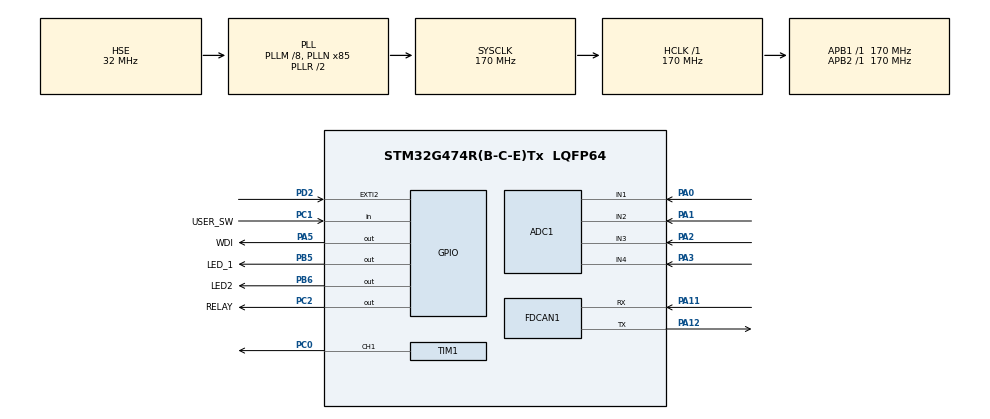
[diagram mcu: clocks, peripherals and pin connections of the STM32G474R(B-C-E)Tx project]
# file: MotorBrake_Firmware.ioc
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ADC1.Channel-0\#ChannelRegularConversion=ADC_CHANNEL_1
ADC1.Channel-1\#ChannelRegularConversion=ADC_CHANNEL_2
ADC1.Channel-2\#ChannelRegularConversion=ADC_CHANNEL_3
ADC1.Channel-3\#ChannelRegularConversion=ADC_CHANNEL_4
ADC1.ContinuousConvMode=ENABLE
ADC1.DMAContinuousRequests=ENABLE
ADC1.NbrOfConversion=4
ADC1.NbrOfConversionFlag=1
ADC1.OffsetNumber-0\#ChannelRegularConversion=ADC_OFFSET_NONE
ADC1.OffsetNumber-1\#ChannelRegularConversion=ADC_OFFSET_NONE
ADC1.OffsetNumber-2\#ChannelRegularConversion=ADC_OFFSET_NONE
ADC1.OffsetNumber-3\#ChannelRegularConversion=ADC_OFFSET_NONE
ADC1.Rank-0\#ChannelRegularConversion=1
ADC1.Rank-1\#ChannelRegularConversion=2
ADC1.Rank-2\#ChannelRegularConversion=3
ADC1.Rank-3\#ChannelRegularConversion=4
ADC1.SamplingTime-0\#ChannelRegularConversion=ADC_SAMPLETIME_640CYCLES_5
ADC1.SamplingTime-1\#ChannelRegularConversion=ADC_SAMPLETIME_640CYCLES_5
ADC1.SamplingTime-2\#ChannelRegularConversion=ADC_SAMPLETIME_640CYCLES_5
ADC1.SamplingTime-3\#ChannelRegularConversion=ADC_SAMPLETIME_640CYCLES_5
ADC1.master=1
Dma.ADC1.0.Direction=DMA_PERIPH_TO_MEMORY
Dma.ADC1.0.EventEnable=DISABLE
Dma.ADC1.0.Instance=DMA1_Channel1
Dma.ADC1.0.MemDataAlignment=DMA_MDATAALIGN_HALFWORD
Dma.ADC1.0.MemInc=DMA_MINC_ENABLE
Dma.ADC1.0.Mode=DMA_CIRCULAR
Dma.ADC1.0.PeriphDataAlignment=DMA_PDATAALIGN_HALFWORD
Dma.ADC1.0.PeriphInc=DMA_PINC_DISABLE
Dma.ADC1.0.Polarity=HAL_DMAMUX_REQ_GEN_RISING
Dma.ADC1.0.Priority=DMA_PRIORITY_LOW
Dma.ADC1.0.RequestNumber=1
Dma.ADC1.0.SignalID=NONE
Dma.ADC1.0.SyncEnable=DISABLE
Dma.ADC1.0.SyncPolarity=HAL_DMAMUX_SYNC_NO_EVENT
Dma.ADC1.0.SyncRequestNumber=1
Dma.ADC1.0.SyncSignalID=NONE
Dma.Request0=ADC1
FDCAN1.CalculateBaudRateNominal=3541666
FDCAN1.CalculateTimeBitNominal=282
FDCAN1.CalculateTimeQuantumNominal=94.11764705882354
Mcu.Family=STM32G4
Mcu.Name=STM32G474R(B-C-E)Tx
Mcu.Package=LQFP64
NVIC.DMA1_Channel1_IRQn=true\:0\:0\:false\:false\:true\:false\:true\:true
NVIC.EXTI2_IRQn=true\:0\:0\:false\:false\:true\:true\:true\:true
NVIC.PriorityGroup=NVIC_PRIORITYGROUP_4
NVIC.TIM6_DAC_IRQn=true\:0\:0\:false\:false\:true\:true\:true\:true
PA0.Mode=IN1-Single-Ended
PA0.Signal=ADC1_IN1
PA1.Mode=IN2-Single-Ended
PA1.Signal=ADC1_IN2
PA11.Mode=FDCAN_Activate
PA11.Signal=FDCAN1_RX
PA12.Mode=FDCAN_Activate
PA12.Signal=FDCAN1_TX
PA13.Mode=Serial_Wire
PA13.Signal=SYS_JTMS-SWDIO
PA14.Mode=Serial_Wire
PA14.Signal=SYS_JTCK-SWCLK
PA2.Mode=IN3-Single-Ended
PA2.Signal=ADC1_IN3
PA3.Mode=IN4-Single-Ended
PA3.Signal=ADC1_IN4
PA5.GPIO_Label=WDI
PA5.Signal=GPIO_Output
PB5.GPIO_Label=LED_1
PB5.Signal=GPIO_Output
PB6.GPIO_Label=LED2
PB6.Signal=GPIO_Output
PC0.Signal=S_TIM1_CH1
PC1.GPIO_Label=USER_SW
PC1.GPIO_PuPd=GPIO_PULLDOWN
PC1.Signal=GPIO_Input
PC2.GPIO_Label=RELAY
PC2.Signal=GPIO_Output
PD2.GPIO_ModeDefaultEXTI=GPIO_MODE_IT_FALLING
PD2.Signal=GPXTI2
PF0-OSC_IN.Mode=HSE-External-Oscillator
PF0-OSC_IN.Signal=RCC_OSC_IN
PF1-OSC_OUT.Mode=HSE-External-Oscillator
PF1-OSC_OUT.Signal=RCC_OSC_OUT
ProjectManager.HeapSize=0x200
ProjectManager.StackSize=0x400
ProjectManager.TargetToolchain=STM32CubeIDE
RCC.ADC12Freq_Value=170000000
RCC.ADC345Freq_Value=170000000
RCC.AHBFreq_Value=170000000
RCC.APB1Freq_Value=170000000
RCC.APB1TimFreq_Value=170000000
RCC.APB2Freq_Value=170000000
RCC.APB2TimFreq_Value=170000000
RCC.CortexFreq_Value=170000000
RCC.EXTERNAL_CLOCK_VALUE=12288000
RCC.HCLKFreq_Value=170000000
RCC.HSE_VALUE=32000000
RCC.HSI48_VALUE=48000000
RCC.HSI_VALUE=16000000
RCC.LSE_VALUE=32768
RCC.PLLM=RCC_PLLM_DIV8
RCC.PLLN=85
RCC.PLLSourceVirtual=RCC_PLLSOURCE_HSE
RCC.SYSCLKFreq_VALUE=170000000
RCC.SYSCLKSource=RCC_SYSCLKSOURCE_PLLCLK
RCC.USBFreq_Value=170000000
RCC.VCOOutputFreq_Value=340000000
SH.S_TIM1_CH1.0=TIM1_CH1,PWM Generation1 CH1
TIM1.Channel-PWM\ Generation1\ CH1=TIM_CHANNEL_1
TIM1.PeriodNoDither=20000-1
TIM1.Prescaler=170-1
TIM6.PeriodNoDither=10000-1
TIM6.Prescaler=170-1
VP_SYS_VS_DBSignals.Mode=DisableDeadBatterySignals
VP_TIM1_VS_ClockSourceINT.Mode=Internal
VP_TIM6_VS_ClockSourceINT.Mode=Enable_Timer
board=custom

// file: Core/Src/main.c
/* USER CODE BEGIN Header */
/**
 ******************************************************************************
 * @file           : main.c
 * @brief          : Main program body
 ******************************************************************************
 * @attention
 *
 * Copyright (c) 2026 STMicroelectronics.
 * All rights reserved.
 *
 * This software is licensed under terms that can be found in the LICENSE file
 * in the root directory of this software component.
 * If no LICENSE file comes with this software, it is provided AS-IS.
 *
 ******************************************************************************
 */
/* USER CODE END Header */
#include "main.h"
#include "adc.h"
#include "dma.h"
#include "fdcan.h"
#include "tim.h"
#include "gpio.h"

/* USER CODE BEGIN Includes */
#include <string.h>   // memcpy() for packing the float current into the CAN frame
#include "flash_store.h"   // persist start/stop servo angles in flash (split-out lib)
/* USER CODE END Includes */

/* USER CODE BEGIN PD */
/* ---- CAN protocol (raw classic-CAN frames bridged to ROS 2 on the PC) ----
 * /brake_command (std_msgs/Bool)  : PC -> STM32, ID 0x130, data[0] = 1 ON / 0 OFF
 * /brake_status  (BrakeStatus.msg): STM32 -> PC, ID 0x131, 8-byte heartbeat:
 *     [0..3] float32 current_ma (little-endian)
 *     [4]    uint8  relay_active   (1 = Relay G2R-24 ON, 0 = OFF)
 *     [5]    uint8  watchdog_status(0 = Normal, 1 = Triggered/fault)
 *     [6..7] uint16 heartbeat sequence counter (little-endian)
 * /servo_command : PC -> STM32, ID 0x132, 8-byte. Two independent servo angles,
 *            each a little-endian float32 clamped to 0–180°. Stored in flash and
 *            recalled on boot:
 *     [0..3] float32 start_deg : servo position when the brake is OFF/released
 *            (relay open, motor free to start).
 *     [4..7] float32 stop_deg  : servo position when the brake is ON/engaged
 *            (relay closed, motor stopped).
 *            There is no polarity/sign flag any more — start and stop are set
 *            directly and independently.
 * /servo_status  : STM32 -> PC, ID 0x133, 8-byte, sent on the same 20 ms tick as
 *            0x131. The held start/stop angles (flash-recalled at boot, then the
 *            live values after each overwrite), same layout as /servo_command:
 *     [0..3] float32 start_deg (little-endian)
 *     [4..7] float32 stop_deg  (little-endian) */
#define CAN_ID_BRAKE_CMD      0x130u
#define CAN_ID_BRAKE_STATUS   0x131u
#define CAN_ID_SERVO_CMD      0x132u
#define CAN_ID_SERVO_STATUS   0x133u

/* ---- INA240A2D current sensor (gain 50 V/V) with a 2 mOhm shunt ----------
 * Unidirectional wiring (REF tied to GND) so 0 A -> ~0 V and only the
 * positive direction is measured.
 *   Vout      = I * Rshunt * Gain  ->  0.002 * 50 = 0.1 V/A
 *   I [A]     = (Vadc - offset) / 0.1
 * Change CURRENT_ADC_INDEX if the INA240 output is wired to a different
 * ADC1 rank (adc_buffer[0]=PA0/IN1, [1]=PA1, [2]=PA2, [3]=PA3).            */
#define ADC_VREF              3.3f
#define ADC_FULL_SCALE        4095.0f
#define INA240_GAIN           50.0f
#define SHUNT_OHMS            0.002f
#define CURRENT_V_PER_A       (INA240_GAIN * SHUNT_OHMS)   /* 0.1 V/A */
#define CURRENT_OFFSET_V      0.0f                         /* unidirectional */
#define CURRENT_ADC_INDEX     0u

/* Open-load / motor-fault check: Relay commanded ON but ~no current flowing.
 * Temporarily disabled (set to 1 to re-enable once a real load is connected). */
#define ENABLE_OPENLOAD_CHECK        0
#define CURRENT_FAULT_THRESHOLD_MA   50.0f

/* Overcurrent trip: cut the relay if the current stays >= threshold continuously
 * for OVERCURRENT_TRIP_MS. The delay rejects the brief inrush/noise spike the
 * servo motor produces when it starts moving (engage or release), while still
 * catching a real sustained fault (stall / short). */
#define OVERCURRENT_THRESHOLD_A      14.0f
#define OVERCURRENT_TRIP_MS          150u

/* Moving-average window over the raw ADC current samples. Smooths single-sample
 * spikes (relay switching noise) that were tripping the overcurrent latch. */
#define CURRENT_AVG_WINDOW           16u

/* Heartbeat: TIM6 elapses every 10 ms, so 2 ticks -> 20 ms status rate. */
#define HEARTBEAT_TICKS       2u

/* On a normal release (relay commanded OFF) the servo is driven back to the
 * start position and we keep the relay energised for this long so it can
 * physically get there before power is cut. Faults (E-Stop/overcurrent) skip
 * this and cut at once. */
#define SERVO_SETTLE_MS       3000u

/* Persisted start/stop servo angles: the flash layout, magic and load/save logic
 * live in the flash_store.[ch] library. What stays here is the app-level policy
 * for *when* to commit.
 * NOTE: the G474 has no read-while-write, so a page erase (~22 ms) stalls the
 * whole CPU — interrupts included — for its duration. To avoid stalling during a
 * burst of /servo_command frames (which would make CAN look unresponsive), the
 * write is debounced: we only commit once the angles have been stable for
 * FLASH_WRITE_QUIET_MS. The boot defaults (used until a /servo_command is saved)
 * are app-level tuning knobs and are passed into FlashStore_LoadAngles(). */
#define START_ANGLE_DEFAULT   180.0f  /* brake OFF/released */
#define STOP_ANGLE_DEFAULT    110.0f  /* brake ON/engaged  */
#define FLASH_WRITE_QUIET_MS  800u

/* On a verified flash write, blink LED2 rapidly for a moment as a visual ACK.
 * Driven from the 10 ms TIM6 tick: toggle every LED2_BLINK_PERIOD ticks for
 * LED2_BLINK_TICKS ticks total (100 ticks = ~1 s, toggling every 50 ms ≈ 10 Hz). */
#define LED2_BLINK_TICKS      100u
#define LED2_BLINK_PERIOD     5u

/* Local push-button on PC1 (USER_SW) that toggles the relay. Wired active-high:
 * press connects the pin to 3.3V, internal pull-down holds it low when released. */
#define BTN_TOGGLE_Pin        GPIO_PIN_1
#define BTN_TOGGLE_GPIO_Port  GPIOC

/* E-Stop on PD2: active-low with pull-up (idle HIGH, triggered LOW -> falling). */
#define ESTOP_Pin             GPIO_PIN_2
#define ESTOP_GPIO_Port       GPIOD
/* USER CODE END PD */

/* USER CODE BEGIN PV */
volatile uint8_t relay_cmd = 0;       // 0 = OFF, 1 = ON. Set by /brake_command over CAN (or Live Expression)
volatile float   start_angle_deg = START_ANGLE_DEFAULT; // servo angle when brake OFF/released (0–180°), persisted in flash, set by /servo_command
volatile float   stop_angle_deg  = STOP_ANGLE_DEFAULT;  // servo angle when brake ON/engaged  (0–180°), persisted in flash, set by /servo_command
volatile uint8_t  flash_save_req = 0;  // set by RX ISR when start/stop angle changes; flash write runs in main loop
volatile uint32_t flash_req_tick = 0;  // HAL tick of the last start/stop angle change (debounce reference)
volatile uint8_t flash_write_ok = 0;  // 1 = last flash write read back OK (visible in Live Expression)
volatile uint16_t led2_blink_ticks = 0; // >0 = LED2 rapid-blink countdown (10 ms ticks), set on a verified write
uint16_t adc_buffer[4];     // สร้าง Buffer รอรับค่าจาก ADC DMA
uint16_t led_counter = 0;

/* Relay/servo release sequencer state (driven in the main loop). */
typedef enum {
	BRAKE_OFF = 0,    // relay open, servo parked at start_angle_deg
	BRAKE_ON,         // relay closed, servo driven to stop_angle_deg
	BRAKE_RELEASING   // servo driving back to start_angle_deg, relay still on until settle elapses
} brake_state_t;

/* --- Brake status / safety state shared with the ISRs --- */
volatile uint8_t  watchdog_status = 0;   // 0 = Normal, 1 = Triggered (E-Stop or open-load fault). Latched.
volatile uint8_t  can_tx_flag = 0;       // set by TIM6 every HEARTBEAT_TICKS, consumed in main loop
float             current_ma = 0.0f;     // latest INA240 current reading, milliamps
uint16_t          heartbeat_seq = 0;     // rolling counter so the PC can detect dropped frames

FDCAN_TxHeaderTypeDef CanTxHeader;        // configured once in CAN_App_Init() — used for 0x131
FDCAN_TxHeaderTypeDef CanServoTxHeader;   // configured once in CAN_App_Init() — used for 0x133
/* USER CODE END PV */

void SystemClock_Config(void);
/* USER CODE BEGIN PFP */
static void  CAN_App_Init(void);          // FDCAN filter + start + RX notification
static void  BrakeStatus_Send(void);      // pack and transmit the /brake_status heartbeat frame
static void  ServoStatus_Send(void);      // transmit the held start/stop angles (0x133)
/* Persisted start/stop servo angles now live in flash_store.[ch]:
 *   FlashStore_LoadAngles() / FlashStore_SaveAngles() */
/* USER CODE END PFP */

/* USER CODE BEGIN 0 */
static uint32_t deg_to_pulse(float deg) {
    if (deg < 0.0f)   deg = 0.0f;
    if (deg > 180.0f) deg = 180.0f;
    return (uint32_t)(1000.0f + deg * (1000.0f / 180.0f));
}
/* USER CODE END 0 */

int main(void)
{

  /* MCU Configuration--------------------------------------------------------*/

  /* Reset of all peripherals, Initializes the Flash interface and the Systick. */
  HAL_Init();

  /* Configure the system clock */
  SystemClock_Config();

  /* Initialize all configured peripherals */
  MX_GPIO_Init();
  MX_DMA_Init();
  MX_ADC1_Init();
  MX_FDCAN1_Init();
  MX_TIM1_Init();
  MX_TIM6_Init();

  /* USER CODE BEGIN 2 */
	/* PC1 = local toggle button (active-high, internal pull-down). Configured
	 * here in USER CODE so it survives CubeMX regeneration of gpio.c (CubeMX
	 * generates this pin as USER_SW with GPIO_NOPULL). */
	GPIO_InitTypeDef btn_init = {0};
	__HAL_RCC_GPIOC_CLK_ENABLE();
	btn_init.Pin = BTN_TOGGLE_Pin;
	btn_init.Mode = GPIO_MODE_INPUT;
	btn_init.Pull = GPIO_PULLDOWN;
	btn_init.Speed = GPIO_SPEED_FREQ_LOW;
	HAL_GPIO_Init(BTN_TOGGLE_GPIO_Port, &btn_init);

	/* E-Stop (PD2): CubeMX generates this EXTI pin as GPIO_NOPULL, which leaves
	 * the active-low line floating and fires spurious falling edges -> false
	 * watchdog_status=1. Re-init with internal pull-up (USER CODE = regen-safe)
	 * and drop any edge latched during boot/re-config before we start. */
	GPIO_InitTypeDef estop_init = {0};
	__HAL_RCC_GPIOD_CLK_ENABLE();
	estop_init.Pin = ESTOP_Pin;
	estop_init.Mode = GPIO_MODE_IT_FALLING;
	estop_init.Pull = GPIO_PULLUP;
	estop_init.Speed = GPIO_SPEED_FREQ_LOW;
	HAL_GPIO_Init(ESTOP_GPIO_Port, &estop_init);
	__HAL_GPIO_EXTI_CLEAR_IT(ESTOP_Pin);
	HAL_NVIC_ClearPendingIRQ(EXTI2_IRQn);
	watchdog_status = 0;            // clear false latch from a floating boot edge

	/* Recall the start/stop angles saved by the last /servo_command (defaults if
	 * the flash page was never written). */
	float loaded_start, loaded_stop;
	FlashStore_LoadAngles(&loaded_start, &loaded_stop,
			START_ANGLE_DEFAULT, STOP_ANGLE_DEFAULT);
	start_angle_deg = loaded_start;
	stop_angle_deg  = loaded_stop;

	CAN_App_Init();                 // ตั้งค่า Filter + Start FDCAN + เปิด RX Interrupt
	HAL_TIM_Base_Start_IT(&htim6);  // เริ่ม Timer ของ WDI
	HAL_TIM_PWM_Start(&htim1, TIM_CHANNEL_1); // เริ่ม PWM ของ Servo
	HAL_ADC_Start_DMA(&hadc1, (uint32_t*) adc_buffer, 4);
  /* USER CODE END 2 */

  /* Infinite loop */
	while (1) {

    /* USER CODE BEGIN 3 */
		/* Relay/servo sequencer:
		 *   OFF  -> ON         : commanded ON (no fault) -> relay closes, servo to brake_angle
		 *   ON                 : servo follows brake_angle live (re-sent /servo_command)
		 *   ON   -> RELEASING  : commanded OFF -> servo to 0°, relay stays on
		 *   RELEASING -> OFF   : after SERVO_SETTLE_MS the relay opens
		 * A fault (watchdog_status=1) cuts the relay immediately from any state. */
		static brake_state_t brake_state = BRAKE_OFF;
		static float    servo_target  = START_ANGLE_DEFAULT;
		static uint32_t release_tick  = 0;

		/* Engage/release endpoints, set independently via /servo_command:
		 *   brake ON  (engaged) -> stop_deg
		 *   brake OFF (released)-> start_deg */
		float engaged_deg  = stop_angle_deg;
		float released_deg = start_angle_deg;

		if (watchdog_status == 1) {
			/* E-Stop / latched fault: open relay now, no graceful return. */
			HAL_GPIO_WritePin(RELAY_Brake_GPIO_Port, RELAY_Brake_Pin, GPIO_PIN_RESET);
			servo_target = released_deg;
			brake_state  = BRAKE_OFF;
		} else {
			switch (brake_state) {
			case BRAKE_OFF:
				HAL_GPIO_WritePin(RELAY_Brake_GPIO_Port, RELAY_Brake_Pin, GPIO_PIN_RESET);
				servo_target = released_deg;
				if (relay_cmd == 1) {
					HAL_GPIO_WritePin(RELAY_Brake_GPIO_Port, RELAY_Brake_Pin, GPIO_PIN_SET);
					servo_target = engaged_deg;
					brake_state  = BRAKE_ON;
				}
				break;

			case BRAKE_ON:
				HAL_GPIO_WritePin(RELAY_Brake_GPIO_Port, RELAY_Brake_Pin, GPIO_PIN_SET);
				servo_target = engaged_deg;   /* follow live angle updates */
				if (relay_cmd == 0) {
					servo_target = released_deg; /* drive to release position before powering off */
					release_tick = HAL_GetTick();
					brake_state  = BRAKE_RELEASING;
				}
				break;

			case BRAKE_RELEASING:
				HAL_GPIO_WritePin(RELAY_Brake_GPIO_Port, RELAY_Brake_Pin, GPIO_PIN_SET);
				servo_target = released_deg;
				if (relay_cmd == 1) {              /* re-engaged mid-release */
					servo_target = engaged_deg;
					brake_state  = BRAKE_ON;
				} else if ((HAL_GetTick() - release_tick) >= SERVO_SETTLE_MS) {
					HAL_GPIO_WritePin(RELAY_Brake_GPIO_Port, RELAY_Brake_Pin, GPIO_PIN_RESET);
					brake_state = BRAKE_OFF;
				}
				break;
			}
		}

		/* Moving average over the last CURRENT_AVG_WINDOW raw ADC samples to reject
		 * single-sample spikes before converting to current. Ring buffer keeps a
		 * running sum so each iteration is O(1). */
		static uint16_t adc_window[CURRENT_AVG_WINDOW] = {0};
		static uint32_t adc_sum = 0;
		static uint8_t  adc_idx = 0;
		uint16_t adc_raw = adc_buffer[CURRENT_ADC_INDEX];
		adc_sum -= adc_window[adc_idx];
		adc_window[adc_idx] = adc_raw;
		adc_sum += adc_raw;
		adc_idx = (uint8_t) ((adc_idx + 1u) % CURRENT_AVG_WINDOW);
		float adc_avg = (float) adc_sum / (float) CURRENT_AVG_WINDOW;

		/* Convert the averaged INA240 ADC reading into milliamps (unidirectional). */
		float vout = (adc_avg / ADC_FULL_SCALE) * ADC_VREF;
		float amps = (vout - CURRENT_OFFSET_V) / CURRENT_V_PER_A;
		if (amps < 0.0f) {
			amps = 0.0f;
		}
		current_ma = amps * 1000.0f;

		/* Overcurrent protection with a persistence filter: only trip when the
		 * current has been over the threshold continuously for OVERCURRENT_TRIP_MS,
		 * so the servo's brief start-up inrush/noise spike does not cut the relay. */
		static uint32_t oc_over_since = 0;   /* tick the current first crossed over; 0 = below */
		if (amps >= OVERCURRENT_THRESHOLD_A) {
			uint32_t now = HAL_GetTick();
			if (oc_over_since == 0) {
				oc_over_since = (now != 0u) ? now : 1u;  /* 0 is the "below" sentinel */
			}
			if ((now - oc_over_since) >= OVERCURRENT_TRIP_MS) {
				HAL_GPIO_WritePin(RELAY_Brake_GPIO_Port, RELAY_Brake_Pin, GPIO_PIN_RESET);
				relay_cmd    = 0;
				servo_target = released_deg;
				brake_state  = BRAKE_OFF;
			}
		} else {
			oc_over_since = 0;   /* dropped back below threshold -> restart the timer */
		}

		/* Drive the servo PWM to the sequencer's current target. */
		__HAL_TIM_SET_COMPARE(&htim1, TIM_CHANNEL_1, deg_to_pulse(servo_target));

		/* Persist freshly received start/stop angles outside the RX ISR. Erasing
		 * bank 2 is RWW-safe, so this does not stall the heartbeat below. */
		/* Debounced flash persist: commit only after the angles have been stable for
		 * FLASH_WRITE_QUIET_MS, so a burst of /servo_command frames does not trigger
		 * back-to-back ~22 ms erase stalls (which would drop/delay CAN frames). */
		if (flash_save_req && (HAL_GetTick() - flash_req_tick) >= FLASH_WRITE_QUIET_MS) {
			flash_save_req = 0;
			flash_write_ok = FlashStore_SaveAngles(start_angle_deg, stop_angle_deg);
			if (flash_write_ok) {
				led2_blink_ticks = LED2_BLINK_TICKS;  // rapid-blink LED2 as a write ACK
			}
		}

		/* Transmit the held servo angle (0x133) + /brake_status heartbeat on the
		 * 20 ms tick. 0x133 goes FIRST so the bridge has the current angle in
		 * hand before it publishes /brake_status on receiving 0x131 — otherwise
		 * the first heartbeat after a fresh MCU start carries a stale 0°. */
		if (can_tx_flag) {
			can_tx_flag = 0;
			ServoStatus_Send();
			BrakeStatus_Send();
		}
	}
  /* USER CODE END 3 */
}

void SystemClock_Config(void)
{
  RCC_OscInitTypeDef RCC_OscInitStruct = {0};
  RCC_ClkInitTypeDef RCC_ClkInitStruct = {0};

  /** Configure the main internal regulator output voltage
  */
  HAL_PWREx_ControlVoltageScaling(PWR_REGULATOR_VOLTAGE_SCALE1_BOOST);

  /** Initializes the RCC Oscillators according to the specified parameters
  * in the RCC_OscInitTypeDef structure.
  */
  RCC_OscInitStruct.OscillatorType = RCC_OSCILLATORTYPE_HSE;
  RCC_OscInitStruct.HSEState = RCC_HSE_ON;
  RCC_OscInitStruct.PLL.PLLState = RCC_PLL_ON;
  RCC_OscInitStruct.PLL.PLLSource = RCC_PLLSOURCE_HSE;
  RCC_OscInitStruct.PLL.PLLM = RCC_PLLM_DIV8;
  RCC_OscInitStruct.PLL.PLLN = 85;
  RCC_OscInitStruct.PLL.PLLP = RCC_PLLP_DIV2;
  RCC_OscInitStruct.PLL.PLLQ = RCC_PLLQ_DIV2;
  RCC_OscInitStruct.PLL.PLLR = RCC_PLLR_DIV2;
  if (HAL_RCC_OscConfig(&RCC_OscInitStruct) != HAL_OK)
  {
    Error_Handler();
  }

  /** Initializes the CPU, AHB and APB buses clocks
  */
  RCC_ClkInitStruct.ClockType = RCC_CLOCKTYPE_HCLK|RCC_CLOCKTYPE_SYSCLK
                              |RCC_CLOCKTYPE_PCLK1|RCC_CLOCKTYPE_PCLK2;
  RCC_ClkInitStruct.SYSCLKSource = RCC_SYSCLKSOURCE_PLLCLK;
  RCC_ClkInitStruct.AHBCLKDivider = RCC_SYSCLK_DIV1;
  RCC_ClkInitStruct.APB1CLKDivider = RCC_HCLK_DIV1;
  RCC_ClkInitStruct.APB2CLKDivider = RCC_HCLK_DIV1;

  if (HAL_RCC_ClockConfig(&RCC_ClkInitStruct, FLASH_LATENCY_4) != HAL_OK)
  {
    Error_Handler();
  }
}

/* USER CODE BEGIN 4 */

/**
  * @brief Configure the FDCAN acceptance filter, start the peripheral and
  *        enable the RX FIFO0 "new message" interrupt. Also prepares the
  *        static TX header used for every /brake_status frame.
  */
static void CAN_App_Init(void)
{
	/* Re-initialise FDCAN1 here (in USER CODE) so the settings survive CubeMX
	 * regeneration of fdcan.c. MX_FDCAN1_Init() already ran, so the peripheral
	 * is in configuration mode; we override the values that CubeMX regenerates
	 * from the .ioc back to placeholders.
	 *   1 Mbps @ 170 MHz kernel clock: 170e6 / (10 * (1+13+3)) = 1 000 000 bps
	 *   Sample point = (1+13)/17 = 82.4 %                                      */
	hfdcan1.Init.AutoRetransmission = ENABLE;
	hfdcan1.Init.NominalPrescaler = 10;
	hfdcan1.Init.NominalSyncJumpWidth = 3;
	hfdcan1.Init.NominalTimeSeg1 = 13;
	hfdcan1.Init.NominalTimeSeg2 = 3;
	hfdcan1.Init.StdFiltersNbr = 2;   /* slot 0: /brake_command, slot 1: /servo_command */
	if (HAL_FDCAN_Init(&hfdcan1) != HAL_OK) {
		Error_Handler();
	}

	FDCAN_FilterTypeDef sFilterConfig;
	sFilterConfig.IdType = FDCAN_STANDARD_ID;
	sFilterConfig.FilterType = FDCAN_FILTER_MASK;
	sFilterConfig.FilterConfig = FDCAN_FILTER_TO_RXFIFO0;
	sFilterConfig.FilterID2 = 0x7FF; /* full mask -> exact ID match */

	/* Accept /brake_command (0x130) */
	sFilterConfig.FilterIndex = 0;
	sFilterConfig.FilterID1 = CAN_ID_BRAKE_CMD;
	if (HAL_FDCAN_ConfigFilter(&hfdcan1, &sFilterConfig) != HAL_OK) {
		Error_Handler();
	}

	/* Accept /servo_command (0x132) */
	sFilterConfig.FilterIndex = 1;
	sFilterConfig.FilterID1 = CAN_ID_SERVO_CMD;
	if (HAL_FDCAN_ConfigFilter(&hfdcan1, &sFilterConfig) != HAL_OK) {
		Error_Handler();
	}
	if (HAL_FDCAN_ConfigGlobalFilter(&hfdcan1, FDCAN_REJECT, FDCAN_REJECT,
			FDCAN_REJECT_REMOTE, FDCAN_REJECT_REMOTE) != HAL_OK) {
		Error_Handler();
	}

	/* TX header for /brake_status (0x131, classic CAN, 8 bytes). */
	CanTxHeader.Identifier = CAN_ID_BRAKE_STATUS;
	CanTxHeader.IdType = FDCAN_STANDARD_ID;
	CanTxHeader.TxFrameType = FDCAN_DATA_FRAME;
	CanTxHeader.DataLength = FDCAN_DLC_BYTES_8;
	CanTxHeader.ErrorStateIndicator = FDCAN_ESI_ACTIVE;
	CanTxHeader.BitRateSwitch = FDCAN_BRS_OFF;
	CanTxHeader.FDFormat = FDCAN_CLASSIC_CAN;
	CanTxHeader.TxEventFifoControl = FDCAN_NO_TX_EVENTS;
	CanTxHeader.MessageMarker = 0;

	/* Servo-status frame (0x133): 8-byte, two float32 (start_deg, stop_deg). */
	CanServoTxHeader = CanTxHeader;
	CanServoTxHeader.Identifier = CAN_ID_SERVO_STATUS;
	CanServoTxHeader.DataLength = FDCAN_DLC_BYTES_8;

	if (HAL_FDCAN_Start(&hfdcan1) != HAL_OK) {
		Error_Handler();
	}
	if (HAL_FDCAN_ActivateNotification(&hfdcan1,
			FDCAN_IT_RX_FIFO0_NEW_MESSAGE, 0) != HAL_OK) {
		Error_Handler();
	}
}

/**
  * @brief Pack the brake status into an 8-byte frame and queue it for TX.
  *        Also runs the "Relay ON but no current" open-load validation.
  */
static void BrakeStatus_Send(void)
{
	uint8_t relay_active =
			(HAL_GPIO_ReadPin(RELAY_Brake_GPIO_Port, RELAY_Brake_Pin) == GPIO_PIN_SET) ? 1u : 0u;

	/* Current Validation: Relay is ON but almost no current is flowing ->
	 * broken motor wire or failed motor. Latch the fault so the PC sees it.
	 * Disabled while bench-testing without a load (see ENABLE_OPENLOAD_CHECK). */
#if ENABLE_OPENLOAD_CHECK
	if (relay_active && (current_ma < CURRENT_FAULT_THRESHOLD_MA)) {
		watchdog_status = 1;
	}
#endif

	uint8_t TxData[8];
	memcpy(&TxData[0], &current_ma, sizeof(float)); /* [0..3] float32, little-endian */
	TxData[4] = relay_active;                        /* [4]    relay_active */
	TxData[5] = watchdog_status;                     /* [5]    watchdog_status */
	TxData[6] = (uint8_t) (heartbeat_seq & 0xFFu);   /* [6..7] sequence counter */
	TxData[7] = (uint8_t) (heartbeat_seq >> 8);
	heartbeat_seq++;

	HAL_FDCAN_AddMessageToTxFifoQ(&hfdcan1, &CanTxHeader, TxData);
}

/**
  * @brief Report the held start/stop angles (0x133): flash values at boot, then
  *        the live /servo_command values after each overwrite.
  */
static void ServoStatus_Send(void)
{
	float s = start_angle_deg;   /* volatile -> local snapshot */
	float t = stop_angle_deg;
	uint8_t TxData[8];
	memcpy(&TxData[0], &s, sizeof(float)); /* [0..3] float32 start_deg, little-endian */
	memcpy(&TxData[4], &t, sizeof(float)); /* [4..7] float32 stop_deg,  little-endian */

	HAL_FDCAN_AddMessageToTxFifoQ(&hfdcan1, &CanServoTxHeader, TxData);
}

/**
  * @brief FDCAN RX FIFO0 callback: decode /brake_command and /servo_command frames.
  */
void HAL_FDCAN_RxFifo0Callback(FDCAN_HandleTypeDef *hfdcan, uint32_t RxFifo0ITs)
{
	if ((RxFifo0ITs & FDCAN_IT_RX_FIFO0_NEW_MESSAGE) == 0u) {
		return;
	}

	/* Drain every frame queued in FIFO0, not just one: a flash-erase stall can
	 * let several pile up, and reading only one would leave the rest unprocessed. */
	FDCAN_RxHeaderTypeDef RxHeader;
	uint8_t RxData[8];
	while (HAL_FDCAN_GetRxMessage(hfdcan, FDCAN_RX_FIFO0, &RxHeader, RxData) == HAL_OK) {
		if (RxHeader.Identifier == CAN_ID_BRAKE_CMD) {
			/* std_msgs/Bool: data:true -> Relay ON (engage), data:false -> Relay OFF. */
			relay_cmd = (RxData[0] != 0u) ? 1u : 0u;
		} else if (RxHeader.Identifier == CAN_ID_SERVO_CMD) {
			/* 8-byte: [0..3] start_deg, [4..7] stop_deg. Takes effect immediately;
			 * the flash persist is debounced in the main loop (FLASH_WRITE_QUIET_MS). */
			float new_start, new_stop;
			memcpy(&new_start, &RxData[0], sizeof(float));
			memcpy(&new_stop,  &RxData[4], sizeof(float));
			/* Clamp both to the valid servo range 0..180°. */
			if (new_start < 0.0f) new_start = 0.0f;
			if (new_start > 180.0f) new_start = 180.0f;
			if (new_stop  < 0.0f) new_stop  = 0.0f;
			if (new_stop  > 180.0f) new_stop  = 180.0f;
			if (new_start != start_angle_deg || new_stop != stop_angle_deg) {
				start_angle_deg = new_start;
				stop_angle_deg  = new_stop;
				flash_save_req  = 1;
				flash_req_tick  = HAL_GetTick();  /* restart the debounce window */
			}
		}
	}
}

void HAL_TIM_PeriodElapsedCallback(TIM_HandleTypeDef *htim) {
	if (htim->Instance == TIM6) // ทุกๆ 10ms
	{
		// 1. ทริกเกอร์ Watchdog
		HAL_GPIO_TogglePin(WDI_GPIO_Port, WDI_Pin);

		// 2a. LED2 rapid-blink (~10 Hz) as a flash-write ACK, for ~1 s after a
		//     verified write. Overrides LED2's normal heartbeat while active.
		if (led2_blink_ticks > 0) {
			led2_blink_ticks--;
			static uint8_t b = 0;
			if (++b >= LED2_BLINK_PERIOD) {
				b = 0;
				HAL_GPIO_TogglePin(GPIOB, LED2_Pin);
			}
			if (led2_blink_ticks == 0) {
				HAL_GPIO_WritePin(GPIOB, LED2_Pin, GPIO_PIN_RESET); // leave LED2 in a known state
			}
		}

		// 2b. นับเวลาให้ครบ 1 วินาที (10ms * 100 = 1000ms) สำหรับ LED heartbeat
		led_counter++;
		if (led_counter >= 100) {
			HAL_GPIO_TogglePin(GPIOB, LED_1_Pin);
			if (led2_blink_ticks == 0) {
				HAL_GPIO_TogglePin(GPIOB, LED2_Pin); // normal LED2 heartbeat when not ACK-blinking
			}
			led_counter = 0;
		}

		// 3. ตั้ง Flag ส่ง Heartbeat /brake_status ทุกๆ HEARTBEAT_TICKS (20ms)
		static uint16_t hb_counter = 0;
		if (++hb_counter >= HEARTBEAT_TICKS) {
			hb_counter = 0;
			can_tx_flag = 1;
		}

		// 4. ปุ่ม Toggle relay ที่ขา PC1 (active-high). สุ่มอ่านทุก 10ms = debounce
		//    สลับสถานะเฉพาะตอน "กดลง" (ขอบ released->pressed) เท่านั้น
		static GPIO_PinState btn_prev = GPIO_PIN_RESET; // released = low (pull-down)
		GPIO_PinState btn_now = HAL_GPIO_ReadPin(BTN_TOGGLE_GPIO_Port, BTN_TOGGLE_Pin);
		if (btn_prev == GPIO_PIN_RESET && btn_now == GPIO_PIN_SET) {
			relay_cmd = (relay_cmd == 1) ? 0u : 1u; // toggle
		}
		btn_prev = btn_now;
	}
}

void HAL_GPIO_EXTI_Callback(uint16_t GPIO_Pin)
{
  if (GPIO_Pin == GPIO_PIN_2) // ตรวจสอบว่าเป็น Interrupt จากขา PD2
  {
    // 0. กรอง glitch: noise ตอนคอยล์ relay สวิตช์ทำให้ PD2 เกิด falling edge ปลอม.
    //    E-Stop จริงจะกดค้างให้สาย LOW ต่อเนื่อง ส่วน glitch จะเด้งกลับ HIGH ทันที.
    //    spin สั้นๆ แล้วอ่านซ้ำ ถ้ากลับเป็น HIGH = glitch -> ไม่ latch.
    for (volatile uint32_t i = 0; i < 4000u; i++) { __NOP(); }
    if (HAL_GPIO_ReadPin(ESTOP_GPIO_Port, ESTOP_Pin) != GPIO_PIN_RESET) {
      __HAL_GPIO_EXTI_CLEAR_IT(ESTOP_Pin);  // ทิ้ง edge ปลอม
      return;
    }

    // 1. สั่งปิด Relay ทันทีที่ระดับฮาร์ดแวร์
    HAL_GPIO_WritePin(RELAY_Brake_GPIO_Port, RELAY_Brake_Pin, GPIO_PIN_RESET);

    // 2. บังคับเคลียร์ตัวแปรคำสั่งใน Live Expression
    // เพื่อป้องกันไม่ให้โค้ดใน while(1) กลับมาสั่งเปิด Relay อีก
    relay_cmd = 0;

    // 3. ตั้งสถานะ watchdog ให้เป็น Triggered เพื่อให้ PC รู้ว่าเกิด E-Stop
    watchdog_status = 1;
  }
}
/* USER CODE END 4 */

void Error_Handler(void)
{
	__disable_irq();
	while (1) {
	}
}
